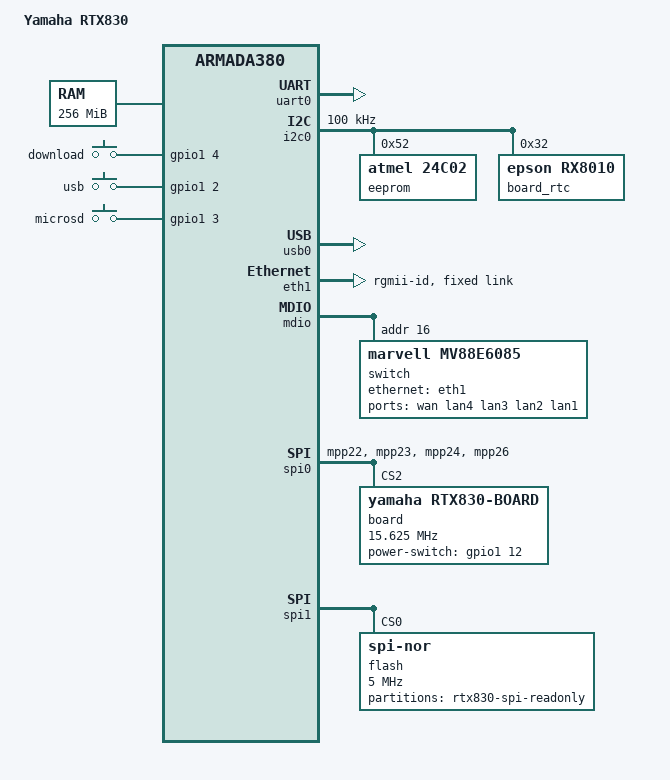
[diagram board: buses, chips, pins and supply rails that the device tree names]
// SPDX-License-Identifier: (GPL-2.0+ OR MIT)
/* Wiring and CPU1 BootROM aperture confirmed by the preceding Linux port.
 * DDR, MPP routing and USB PHY are inherited from
 * the Yamaha -> CANZ -> U-Boot handoff in this initial bring-up version.
 */
/dts-v1/;
#include "armada-385.dtsi"
#include <dt-bindings/gpio/gpio.h>
#include <dt-bindings/input/input.h>

/ {
	model = "Yamaha RTX830";
	compatible = "yamaha,rtx830", "marvell,armada385", "marvell,armada380";

	aliases {
		rtc0 = &board_rtc;
		label-mac-device = &eth1;
	};

	chosen {
		stdout-path = "serial0:9600n8";
	};

	memory@0 {
		device_type = "memory";
		reg = <0 0x10000000>;
	};

	restart-controller@f100c620 {
		compatible = "yamaha,rtx830-restart";
		reg = <0xf100c620 0x20>, <0xf1018260 0x4>, <0xf1020704 0x4>;
		reg-names = "private-watchdog", "reset-mask", "reset-route";
	};

	buttons {
		compatible = "gpio-keys";
		button-download {
			label = "download";
			linux,code = <KEY_PROG1>;
			gpios = <&gpio1 4 GPIO_ACTIVE_HIGH>;
			debounce-interval = <150>;
		};
		button-usb {
			label = "usb";
			linux,code = <KEY_PROG2>;
			gpios = <&gpio1 2 GPIO_ACTIVE_HIGH>;
			debounce-interval = <150>;
		};
		button-microsd {
			label = "microsd";
			linux,code = <KEY_PROG3>;
			gpios = <&gpio1 3 GPIO_ACTIVE_HIGH>;
			debounce-interval = <150>;
		};
	};

	cpus {
		enable-method = "marvell,armada-380-smp";
		cpu@0 {
			status = "okay";
		};
		cpu@1 {
			status = "okay";
		};
	};

	soc {
		/* CPU1 reset trampoline must still reach the internal BootROM. */
		ranges = <MBUS_ID(0xf0, 0x01) 0 0xf1000000 0x100000
			  MBUS_ID(0x01, 0x1d) 0 0xfff00000 0x100000
			  /* CESA SRAM apertures, as on upstream Armada 385 boards. */
			  MBUS_ID(0x09, 0x19) 0 0xf1100000 0x10000
			  MBUS_ID(0x09, 0x15) 0 0xf1110000 0x10000>;
		internal-regs {
			/* Use the fixed 25 MHz timer for stable timekeeping. */
			timer@c200 {
				status = "disabled";
			};
		};
	};
};

&uart0 {
	status = "okay";
};

&i2c0 {
	/* Keep the inherited board MPP routing. */
	clock-frequency = <100000>;
	status = "okay";
	/* The factory EEPROM uses 8-bit word addresses (256 bytes). */
	eeprom@52 {
		compatible = "atmel,24c02";
		reg = <0x52>;
		read-only;

		nvmem-layout {
			compatible = "fixed-layout";
			#address-cells = <1>;
			#size-cells = <1>;

			macaddr_eeprom_3a: macaddr@3a {
				reg = <0x3a 0x6>;
			};

			macaddr_eeprom_42: macaddr@42 {
				reg = <0x42 0x6>;
			};
		};
	};

	board_rtc: rtc@32 {
		compatible = "epson,rx8010";
		reg = <0x32>;
	};
};

&usb0 {
	status = "okay";
};

&usb3_0 {
	status = "disabled";
};

&usb3_1 {
	status = "disabled";
};

&sdhci {
	status = "disabled";
};

&rtc {
	status = "disabled";
}; /* The board clock is the external RX8010 on I2C0. */
/* The standard Armada watchdog expires without resetting this board in
 * measured tests. Keep it disabled; the board driver uses CPU0's private WD.
 */
&watchdog {
	status = "disabled";
};

&eth0 {
	status = "disabled";
};

&eth1 {
	nvmem-cells = <&macaddr_eeprom_3a>;
	nvmem-cell-names = "mac-address";
	status = "okay";
	phy-mode = "rgmii-id";
	fixed-link {
		speed = <1000>;
		full-duplex;
	};
};

&mdio {
	status = "okay";
	switch@10 {
		compatible = "marvell,mv88e6085";
		reg = <0x10>;
		ethernet-ports {
			#address-cells = <1>;
			#size-cells = <0>;
			port@0 {
				reg = <0>;
				label = "wan";
				nvmem-cells = <&macaddr_eeprom_42>;
				nvmem-cell-names = "mac-address";
			};
			port@1 {
				reg = <1>;
				label = "lan4";
			};
			port@2 {
				reg = <2>;
				label = "lan3";
			};
			port@3 {
				reg = <3>;
				label = "lan2";
			};
			port@4 {
				reg = <4>;
				label = "lan1";
			};
			port@6 {
				reg = <6>;
				ethernet = <&eth1>;
				phy-mode = "rgmii-id";
				fixed-link {
					speed = <1000>;
					full-duplex;
				};
			};
		};
	};
};

&pinctrl {
	rtx830_spi0_pins: rtx830-spi0-pins {
		marvell,pins = "mpp22", "mpp23", "mpp24", "mpp26";
		marvell,function = "spi0";
	};
};

&spi0 {
	pinctrl-names = "default";
	pinctrl-0 = <&rtx830_spi0_pins>;
	status = "okay";
	board@2 {
		compatible = "yamaha,rtx830-board";
		reg = <2>;
		/* CFG 0x1818 inherited previously: mode 3, TCLK/16. */
		spi-max-frequency = <15625000>;
		spi-cpol;
		spi-cpha;
		power-switch-gpios = <&gpio1 12 GPIO_ACTIVE_HIGH>;
	};
};

/* SPI1/CS0 is the 32MiB NOR; SPI0/CS2 carries board controls. */
&spi1 {
	status = "okay";
	flash@0 {
		compatible = "jedec,spi-nor";
		reg = <0>;
		spi-max-frequency = <5000000>;
		spi-rx-bus-width = <1>;
		spi-tx-bus-width = <1>;
		partitions {
			compatible = "fixed-partitions";
			#address-cells = <1>;
			#size-cells = <1>;
			partition@0 {
				label = "rtx830-spi-readonly";
				reg = <0 0x02000000>;
				read-only;
			};
		};
	};
};
